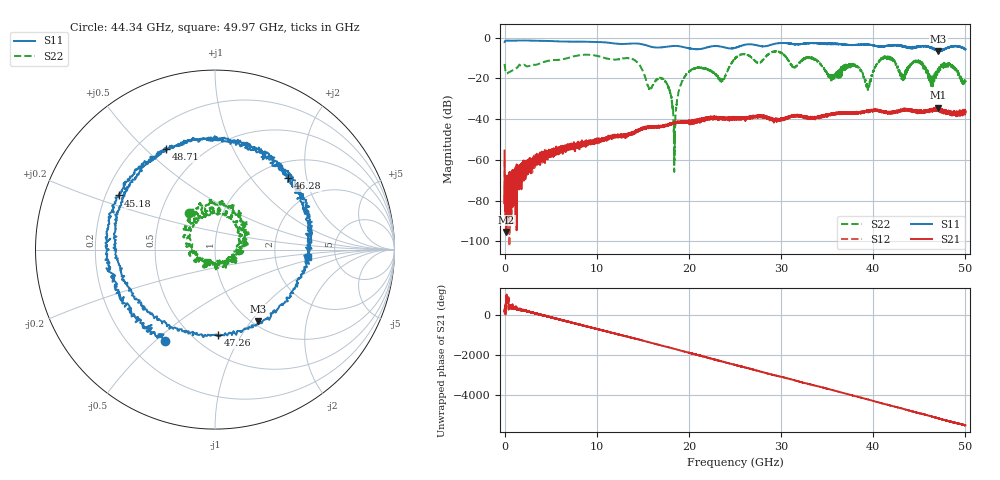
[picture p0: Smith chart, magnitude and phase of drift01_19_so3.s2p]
!Created with skrf (http://scikit-rf.org).
# Hz S RI R 50.0
!freq ReS11 ImS11 ReS21 ImS21 ReS12 ImS12 ReS22 ImS22
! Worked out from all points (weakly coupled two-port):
!   10001 points, 300 kHz to 50 GHz, reference 50 ohm
!   highest |S21| = -34.41 dB at 47.08 GHz (marker M1); lowest = -95.4 dB at 175.3 MHz (marker M2)
!   lowest |S11| = -6.7 dB at 47.07 GHz (marker M3), VSWR 2.74, Z = 53 - j54 ohm
!   |S11| at or under -10 dB: nowhere
!   |S22| runs from -66.0 to -6.6 dB; largest |S21 - S12| = 0.0044
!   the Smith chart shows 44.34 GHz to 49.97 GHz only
!   S11 on the Smith chart (normalised r, x): 44.34 GHz: 0.35, -0.54; 45.18 GHz: 0.25, +0.25; 46.28 GHz: 1.32, +1.57; 47.26 GHz: 0.65, -0.80; 48.71 GHz: 0.32, +0.58; 49.97 GHz: 3.14, -0.35
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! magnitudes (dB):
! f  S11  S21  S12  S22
! 300 kHz  -2.1  -55.5  -60.3  -12.9
! 175.3 MHz  -1.4  -95.4  -80.5  -17.5
! 8.335 GHz  -2.0  -52.3  -52.0  -8.5
! 16.67 GHz  -4.9  -44.0  -43.7  -19.9
! 17.74 GHz  -4.3  -43.2  -42.6  -23.7
! 18.44 GHz  -4.1  -41.8  -41.9  -56.2
! 19.91 GHz  -5.1  -41.7  -41.8  -17.1
! 23.59 GHz  -4.5  -39.6  -39.8  -20.4
! 25 GHz  -5.0  -39.2  -39.7  -10.3
! 33.34 GHz  -2.6  -39.6  -39.4  -9.9
! 39.46 GHz  -3.3  -36.5  -36.0  -23.8
! 41.67 GHz  -3.9  -36.7  -36.6  -9.7
! 43.19 GHz  -4.3  -35.4  -35.8  -19.4
! 44.34 GHz  -4.7  -36.0  -36.0  -12.1
! 45.18 GHz  -4.2  -36.5  -36.2  -12.1
! 46.28 GHz  -4.9  -35.5  -35.3  -20.6
! 47.07 GHz  -6.7  -35.5  -34.9  -16.3
! 47.08 GHz  -6.4  -34.4  -35.5  -16.7
! 47.26 GHz  -6.4  -35.9  -36.0  -15.9
! 48.71 GHz  -4.1  -36.8  -36.8  -14.4
! 49.97 GHz  -5.7  -36.7  -36.1  -21.5
! 50 GHz  -5.6  -36.7  -37.3  -21.9
